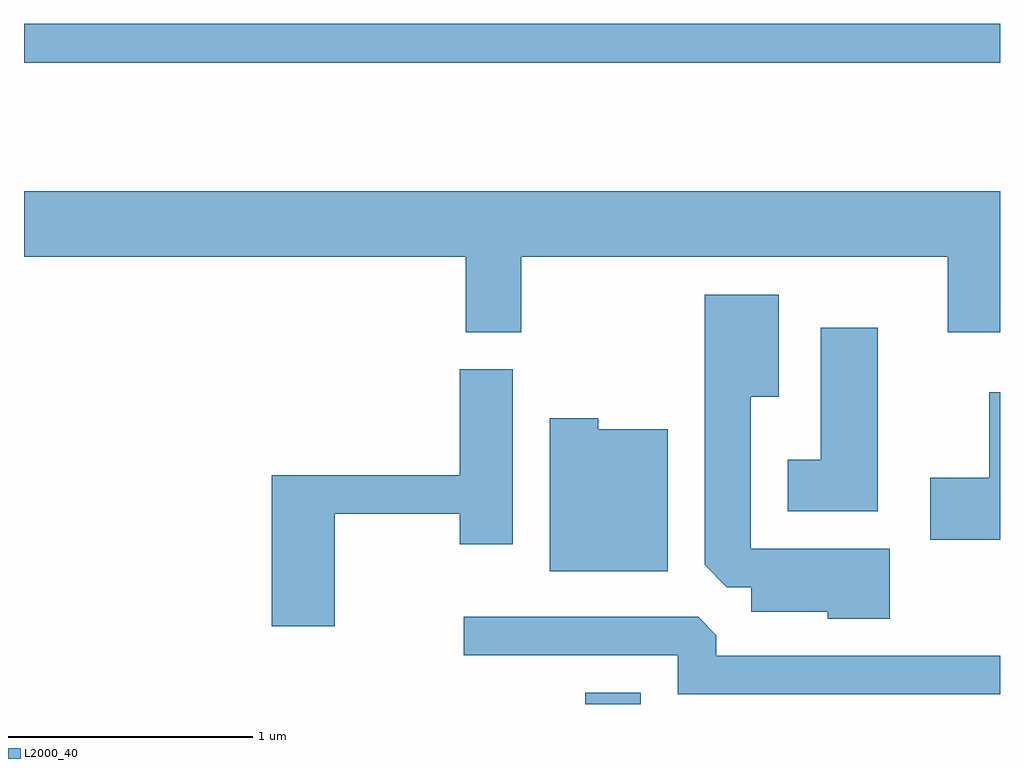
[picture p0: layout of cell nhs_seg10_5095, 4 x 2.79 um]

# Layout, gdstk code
import gdstk
lib = gdstk.Library(unit=1e-6, precision=1e-09)
def R(c, l, rs):  # rectangles x0, y0, x1, y1
    for r in rs: c.add(gdstk.rectangle(r[:2], r[2:], *l))
def P(c, l, *ps):  # polygons
    for p in ps: c.add(gdstk.Polygon(p, *l))
L2000_40 = (2000, 40)

nhs_seg10_5095 = lib.new_cell('nhs_seg10_5095')
R(nhs_seg10_5095, L2000_40, [(337.911,2116.522,338.139,2116.569), (335.611,2119.151,339.611,2119.309)])
P(nhs_seg10_5095, L2000_40, [(337.649,2118.356),(339.396,2118.356),(339.396,2118.046),(339.611,2118.046),(339.611,2118.624),(335.611,2118.624),(335.611,2118.356),(337.421,2118.356),(337.421,2118.046),(337.649,2118.046)],
  [(339.159,2117.159),(338.589,2117.159),(338.589,2117.781),(338.704,2117.781),(338.704,2118.199),(338.401,2118.199),(338.401,2117.092),(338.492,2117.001),(338.591,2117.001),(338.591,2116.901),(338.906,2116.901),(338.906,2116.871),(339.159,2116.871)],
  [(339.109,2118.064),(338.876,2118.064),(338.876,2117.524),(338.741,2117.524),(338.741,2117.311),(339.109,2117.311)],
  [(336.884,2117.301),(337.396,2117.301),(337.396,2117.176),(337.614,2117.176),(337.614,2117.894),(337.396,2117.894),(337.396,2117.459),(336.626,2117.459),(336.626,2116.841),(336.884,2116.841)],
  [(339.611,2117.799),(339.566,2117.799),(339.566,2117.449),(339.326,2117.449),(339.326,2117.196),(339.611,2117.196)],
  [(338.249,2117.649),(337.964,2117.649),(337.964,2117.694),(337.766,2117.694),(337.766,2117.066),(338.249,2117.066)],
  [(339.611,2116.719),(338.449,2116.719),(338.449,2116.804),(338.374,2116.879),(337.413,2116.879),(337.413,2116.721),(338.291,2116.721),(338.291,2116.561),(339.611,2116.561)])

lib.write_gds('nhs_seg10_5095.gds')
